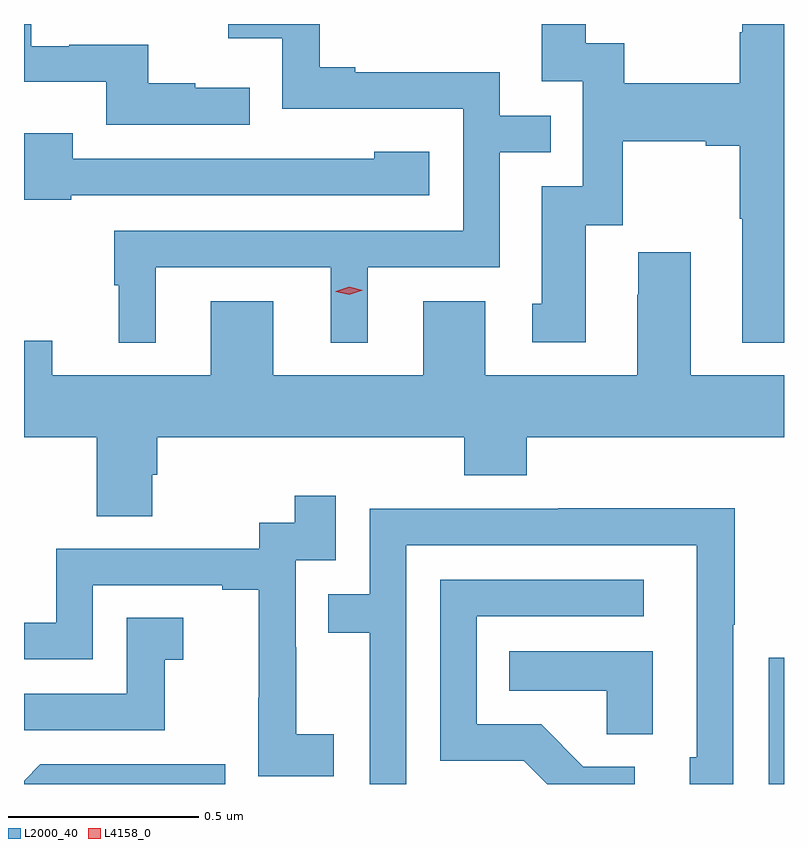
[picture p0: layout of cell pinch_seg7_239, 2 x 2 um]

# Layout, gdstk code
import gdstk
lib = gdstk.Library(unit=1e-6, precision=1e-09)
def R(c, l, rs):  # rectangles x0, y0, x1, y1
    for r in rs: c.add(gdstk.rectangle(r[:2], r[2:], *l))
def P(c, l, *ps):  # polygons
    for p in ps: c.add(gdstk.Polygon(p, *l))
L2000_40 = (2000, 40)
L4158_0 = (4158, 0)

pinch_seg7_239 = lib.new_cell('pinch_seg7_239')
R(pinch_seg7_239, L2000_40, [(857.097,1033.004,857.137,1033.336)])
P(pinch_seg7_239, L2000_40, [(855.731,1034.836),(855.587,1034.836),(855.587,1034.848),(855.464,1034.848),(855.464,1034.949),(855.256,1034.949),(855.256,1034.946),(855.156,1034.946),(855.156,1035.004),(855.137,1035.004),(855.137,1034.852),(855.354,1034.852),(855.354,1034.739),(855.731,1034.739)],
  [(855.484,1034.364),(855.944,1034.364),(855.944,1034.165),(856.042,1034.165),(856.042,1034.364),(856.389,1034.364),(856.389,1034.667),(856.523,1034.667),(856.523,1034.763),(856.389,1034.763),(856.389,1034.877),(856.009,1034.877),(856.009,1034.89),(855.915,1034.89),(855.915,1035.004),(855.675,1035.004),(855.675,1034.966),(855.816,1034.966),(855.816,1034.781),(856.293,1034.781),(856.293,1034.46),(855.375,1034.46),(855.375,1034.316),(855.386,1034.316),(855.386,1034.165),(855.484,1034.165)],
  [(857.137,1035.004),(857.027,1035.004),(857.027,1034.982),(857.02,1034.982),(857.02,1034.848),(856.717,1034.848),(856.717,1034.954),(856.615,1034.954),(856.615,1035.004),(856.499,1035.004),(856.499,1034.853),(856.608,1034.853),(856.608,1034.577),(856.499,1034.577),(856.499,1034.268),(856.475,1034.268),(856.475,1034.166),(856.615,1034.166),(856.615,1034.474),(856.713,1034.474),(856.713,1034.696),(856.931,1034.696),(856.931,1034.684),(857.02,1034.684),(857.02,1034.491),(857.027,1034.491),(857.027,1034.165),(857.137,1034.165)],
  [(855.261,1034.553),(856.204,1034.553),(856.204,1034.668),(856.059,1034.668),(856.059,1034.65),(855.823,1034.65),(855.823,1034.649),(855.265,1034.649),(855.265,1034.716),(855.137,1034.716),(855.137,1034.541),(855.261,1034.541)],
  [(855.475,1033.818),(855.488,1033.818),(855.488,1033.916),(856.295,1033.916),(856.295,1033.817),(856.46,1033.817),(856.46,1033.916),(857.137,1033.916),(857.137,1034.08),(856.891,1034.08),(856.891,1034.404),(856.754,1034.404),(856.754,1034.291),(856.751,1034.291),(856.751,1034.08),(856.351,1034.08),(856.351,1034.275),(856.187,1034.275),(856.187,1034.08),(855.793,1034.08),(855.793,1034.275),(855.629,1034.275),(855.629,1034.08),(855.211,1034.08),(855.211,1034.171),(855.137,1034.171),(855.137,1033.916),(855.328,1033.916),(855.328,1033.708),(855.475,1033.708)],
  [(855.952,1033.135),(855.854,1033.135),(855.854,1033.364),(855.852,1033.364),(855.852,1033.593),(855.957,1033.593),(855.957,1033.762),(855.849,1033.762),(855.849,1033.692),(855.756,1033.692),(855.756,1033.623),(855.222,1033.623),(855.222,1033.428),(855.137,1033.428),(855.137,1033.332),(855.318,1033.332),(855.318,1033.527),(855.659,1033.527),(855.659,1033.515),(855.755,1033.515),(855.755,1033.231),(855.754,1033.231),(855.754,1033.025),(855.952,1033.025)],
  [(856.143,1033.632),(856.908,1033.632),(856.908,1033.074),(856.889,1033.074),(856.889,1033.004),(857.004,1033.004),(857.004,1033.423),(857.007,1033.423),(857.007,1033.73),(856.543,1033.73),(856.543,1033.728),(856.047,1033.728),(856.047,1033.503),(855.937,1033.503),(855.937,1033.402),(856.047,1033.402),(856.047,1033.004),(856.143,1033.004)],
  [(856.744,1033.05),(856.609,1033.05),(856.498,1033.161),(856.329,1033.161),(856.329,1033.446),(856.768,1033.446),(856.768,1033.542),(856.233,1033.542),(856.233,1033.065),(856.452,1033.065),(856.514,1033.004),(856.744,1033.004)],
  [(855.507,1033.331),(855.556,1033.331),(855.556,1033.441),(855.408,1033.441),(855.408,1033.242),(855.137,1033.242),(855.137,1033.146),(855.507,1033.146)],
  [(856.792,1033.354),(856.414,1033.354),(856.414,1033.25),(856.671,1033.25),(856.671,1033.135),(856.792,1033.135)],
  [(855.666,1033.056),(855.18,1033.056),(855.137,1033.013),(855.137,1033.004),(855.666,1033.004)])
P(pinch_seg7_239, L4158_0, [(855.993,1034.292),(855.957,1034.3),(855.957,1034.3),(855.957,1034.301),(855.993,1034.312),(856.029,1034.303),(856.029,1034.303),(856.029,1034.303)])

lib.write_gds('pinch_seg7_239.gds')
